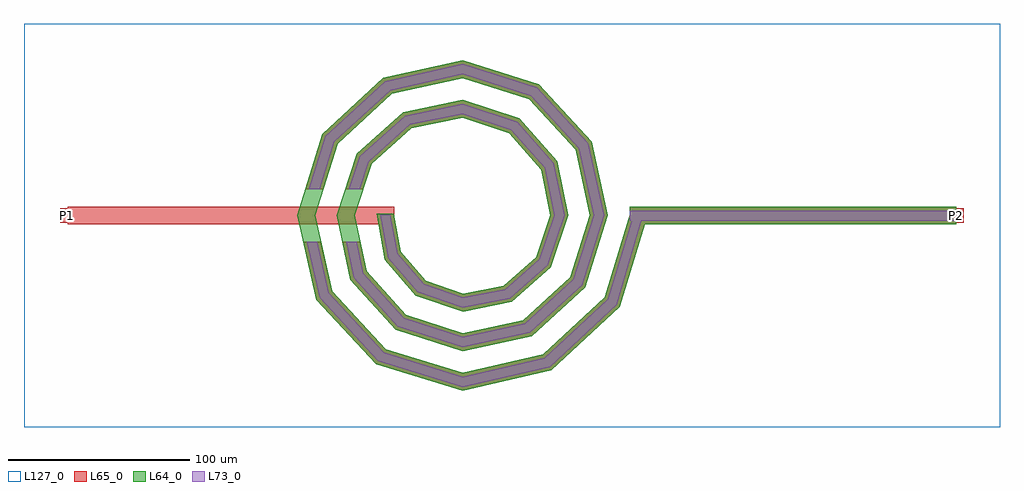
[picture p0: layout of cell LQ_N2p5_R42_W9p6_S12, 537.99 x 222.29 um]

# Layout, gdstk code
import gdstk
lib = gdstk.Library(unit=1e-6, precision=1e-09)
def R(c, l, rs):  # rectangles x0, y0, x1, y1
    for r in rs: c.add(gdstk.rectangle(r[:2], r[2:], *l))
def P(c, l, *ps):  # polygons
    for p in ps: c.add(gdstk.Polygon(p, *l))
L64_0 = (64, 0)
L65_0 = (65, 0)
L73_0 = (73, 0)
L127_0 = (127, 0)

lq_n2p5_r42_w9p6_s12 = lib.new_cell('LQ_N2p5_R42_W9p6_S12')
R(lq_n2p5_r42_w9p6_s12, L64_0, [(92.305,-4.8,272.305,4.8)])
P(lq_n2p5_r42_w9p6_s12, L64_0, [(-33.886,-20.003),(-20.267,-35.834),(0.352,-42.987),(22.697,-38.635),(40.543,-23.03),(48.447,0.316),(43.38,25.398),(25.788,45.257),(0.286,53.908),(-28.105,48.123),(-49.973,28.54),(-59.369,0.262),(-52.864,-30.815),(-31.29,-54.692),(0.242,-64.83),(33.529,-57.603),(59.412,-34.036),(70.291,0.224),(62.341,36.245),(36.781,64.134),(0.209,75.753),(-38.964,67.078),(-68.857,39.524),(-81.215,0.196),(-71.815,-41.684),(-42.265,-73.581),(0.184,-86.676),(44.405,-76.55),(78.306,-45.005),(92.515,1.405),(101.695,-1.405),(86.731,-50.279),(49.059,-85.333),(0.184,-96.609),(-47.557,-81.995),(-80.608,-46.318),(-91.147,0.196),(-77.258,44.836),(-43.575,75.884),(0.209,85.684),(42.117,72.521),(71.16,40.832),(80.221,0.224),(67.782,-39.399),(38.086,-66.437),(0.242,-74.758),(-36.684,-63.042),(-61.716,-35.337),(-69.295,0.262),(-58.3,33.971),(-32.586,56.996),(0.286,63.832),(31.261,53.555),(52.278,29.83),(58.368,0.316),(48.808,-28.557),(27.07,-47.563),(0.352,-52.904),(-25.858,-44.056),(-42.851,-24.301),(-47.203,0.877),(-37.764,0.877)])
R(lq_n2p5_r42_w9p6_s12, L65_0, [(-217.683,-4.8,-37.683,4.8), (92.305,-4.8,272.305,4.8), (-221.683,-4,-213.683,4), (268.305,-4,276.305,4)])
P(lq_n2p5_r42_w9p6_s12, L65_0, [(-71.815,-41.684),(-42.265,-73.581),(0.184,-86.676),(44.405,-76.55),(78.306,-45.005),(92.515,1.405),(101.695,-1.405),(86.731,-50.279),(49.059,-85.333),(0.184,-96.609),(-47.557,-81.995),(-80.608,-46.318),(-87.84,-14.4),(-77.996,-14.4)],
  [(-52.864,-30.815),(-31.29,-54.692),(0.242,-64.83),(33.529,-57.603),(59.412,-34.037),(70.291,0.224),(62.341,36.246),(36.781,64.134),(0.209,75.753),(-38.964,67.078),(-68.857,39.524),(-76.674,14.4),(-86.728,14.4),(-77.258,44.836),(-43.575,75.884),(0.209,85.684),(42.117,72.521),(71.16,40.832),(80.221,0.224),(67.782,-39.399),(38.086,-66.438),(0.242,-74.759),(-36.684,-63.042),(-61.716,-35.337),(-66.174,-14.4),(-56.359,-14.4)],
  [(-20.267,-35.834),(0.352,-42.987),(22.697,-38.635),(40.543,-23.03),(48.447,0.316),(43.38,25.398),(25.788,45.257),(0.287,53.908),(-28.105,48.123),(-49.973,28.541),(-54.586,14.4),(-64.684,14.4),(-58.3,33.971),(-32.586,56.996),(0.287,63.832),(31.261,53.555),(52.279,29.831),(58.368,0.316),(48.808,-28.557),(27.07,-47.563),(0.352,-52.904),(-25.858,-44.056),(-42.851,-24.301),(-47.203,0.877),(-37.764,0.877),(-33.886,-20.003)])
R(lq_n2p5_r42_w9p6_s12, L73_0, [(92.305,-2.8,272.305,2.8)])
P(lq_n2p5_r42_w9p6_s12, L73_0, [(-73.647,-42.649),(-43.368,-75.334),(0.107,-88.746),(45.374,-78.38),(80.061,-46.104),(94.428,0.82),(99.782,0.82),(84.976,-49.18),(48.089,-83.503),(0.107,-94.54),(-46.454,-80.242),(-78.776,-45.352),(-85.789,-14.4),(-80.047,-14.4)],
  [(-54.708,-31.757),(-32.414,-56.431),(0.141,-66.898),(34.478,-59.444),(61.156,-35.154),(72.36,0.131),(64.179,37.201),(37.893,65.881),(0.122,77.822),(-39.925,68.913),(-70.608,40.631),(-78.768,14.4),(-84.633,14.4),(-75.508,43.729),(-42.615,74.049),(0.122,83.615),(41.005,70.774),(69.323,39.876),(78.153,0.131),(66.038,-38.282),(37.136,-64.597),(0.141,-72.69),(-35.56,-61.302),(-59.872,-34.395),(-64.129,-14.4),(-58.403,-14.4)],
  [(-21.432,-37.547),(0.205,-45.053),(23.608,-40.495),(42.265,-24.182),(50.514,0.184),(45.234,26.321),(26.928,46.986),(0.167,55.975),(-29.038,49.972),(-51.708,29.672),(-56.69,14.4),(-62.58,14.4),(-56.565,32.84),(-31.652,55.148),(0.167,61.765),(30.121,51.826),(50.425,28.907),(56.302,0.184),(47.086,-27.405),(26.159,-45.703),(0.205,-50.838),(-24.693,-42.343),(-40.984,-23.406),(-45.236,0.511),(-39.731,0.511),(-35.754,-20.898)])
R(lq_n2p5_r42_w9p6_s12, L127_0, [(-241.683,-116.609,296.305,105.684)])
lq_n2p5_r42_w9p6_s12.add(gdstk.Label('P2', (272.305,0), layer=65, texttype=0))
lq_n2p5_r42_w9p6_s12.add(gdstk.Label('P1', (-217.683,0), layer=65, texttype=0))
lq_n2p5_r42_w9p6_s12.add(gdstk.Label('P2', (276.305,0), layer=145, texttype=0))
lq_n2p5_r42_w9p6_s12.add(gdstk.Label('P1', (-221.683,0), layer=145, texttype=0))

lib.write_gds('LQ_N2p5_R42_W9p6_S12.gds')
